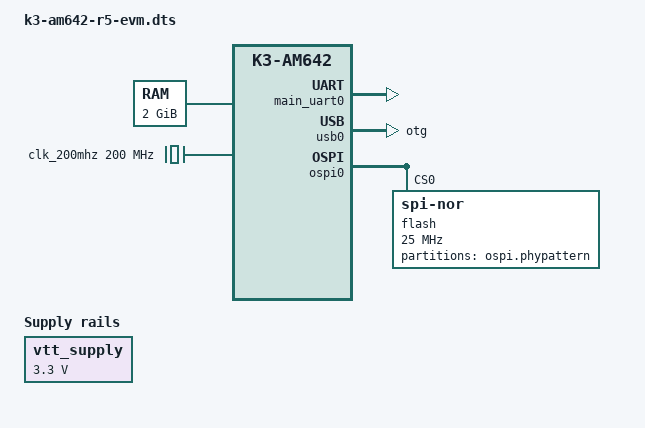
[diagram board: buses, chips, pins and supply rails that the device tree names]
// SPDX-License-Identifier: GPL-2.0
/*
 * Copyright (C) 2020 Texas Instruments Incorporated - https://www.ti.com/
 */

/dts-v1/;

#include "k3-am642.dtsi"
#include "k3-am64-evm-ddr4-1600MTs.dtsi"
#include "k3-am64-ddr.dtsi"

/ {
	chosen {
		stdout-path = "serial2:115200n8";
		tick-timer = &timer1;
	};

	aliases {
		remoteproc0 = &sysctrler;
		remoteproc1 = &a53_0;
	};

	memory@80000000 {
		device_type = "memory";
		/* 2G RAM */
		reg = <0x00000000 0x80000000 0x00000000 0x80000000>;

		u-boot,dm-spl;
	};

	a53_0: a53@0 {
		compatible = "ti,am654-rproc";
		reg = <0x00 0x00a90000 0x00 0x10>;
		power-domains = <&k3_pds 61 TI_SCI_PD_EXCLUSIVE>,
				<&k3_pds 135 TI_SCI_PD_EXCLUSIVE>;
		resets = <&k3_reset 135 0>;
		clocks = <&k3_clks 61 0>;
		assigned-clocks = <&k3_clks 61 0>, <&k3_clks 135 0>;
		assigned-clock-parents = <&k3_clks 61 2>;
		assigned-clock-rates = <200000000>, <1000000000>;
		ti,sci = <&dmsc>;
		ti,sci-proc-id = <32>;
		ti,sci-host-id = <10>;
		u-boot,dm-spl;
	};

	reserved-memory {
		#address-cells = <2>;
		#size-cells = <2>;
		ranges;

		secure_ddr: optee@9e800000 {
			reg = <0x00 0x9e800000 0x00 0x01800000>; /* for OP-TEE */
			alignment = <0x1000>;
			no-map;
		};
	};

	clk_200mhz: dummy-clock-200mhz {
		compatible = "fixed-clock";
		#clock-cells = <0>;
		clock-frequency = <200000000>;
		u-boot,dm-spl;
	};

	vtt_supply: vtt-supply {
		compatible = "regulator-gpio";
		regulator-name = "vtt";
		regulator-min-microvolt = <0>;
		regulator-max-microvolt = <3300000>;
		gpios = <&main_gpio0 12 GPIO_ACTIVE_HIGH>;
		states = <0 0x0 3300000 0x1>;
		u-boot,dm-spl;
	};
};

&cbass_main {
	sysctrler: sysctrler {
		compatible = "ti,am654-system-controller";
		mboxes= <&secure_proxy_main 1>, <&secure_proxy_main 0>;
		mbox-names = "tx", "rx";
		u-boot,dm-spl;
	};
};

&cbass_main {
	main_esm: esm@420000 {
		compatible = "ti,j721e-esm";
		reg = <0x0 0x420000 0x0 0x1000>;
		ti,esm-pins = <160>, <161>;
		u-boot,dm-spl;
	};
};

&cbass_mcu {
	u-boot,dm-spl;
	mcu_esm: esm@4100000 {
		compatible = "ti,j721e-esm";
		reg = <0x0 0x4100000 0x0 0x1000>;
		ti,esm-pins = <0>, <1>;
		u-boot,dm-spl;
	};
};

&main_pmx0 {
	u-boot,dm-spl;
	main_uart0_pins_default: main-uart0-pins-default {
		u-boot,dm-spl;
		pinctrl-single,pins = <
			AM64X_IOPAD(0x0238, PIN_INPUT, 0)		/* (B16) UART0_CTSn */
			AM64X_IOPAD(0x023c, PIN_OUTPUT, 0)		/* (A16) UART0_RTSn */
			AM64X_IOPAD(0x0230, PIN_INPUT, 0)		/* (D15) UART0_RXD */
			AM64X_IOPAD(0x0234, PIN_OUTPUT, 0)		/* (C16) UART0_TXD */
		>;
	};

	main_uart1_pins_default: main-uart1-pins-default {
		u-boot,dm-spl;
		pinctrl-single,pins = <
			AM64X_IOPAD(0x0248, PIN_INPUT, 0)		/* (D16) UART1_CTSn */
			AM64X_IOPAD(0x024c, PIN_OUTPUT, 0) 		/* (E16) UART1_RTSn */
			AM64X_IOPAD(0x0240, PIN_INPUT, 0) 		/* (E15) UART1_RXD */
			AM64X_IOPAD(0x0244, PIN_OUTPUT, 0)		/* (E14) UART1_TXD */
		>;
	};

	main_mmc0_pins_default: main-mmc0-pins-default {
		u-boot,dm-spl;
		pinctrl-single,pins = <
			AM64X_IOPAD(0x01a8, PIN_INPUT_PULLDOWN, 0)	/* (B25) MMC0_CLK */
			AM64X_IOPAD(0x01aC, PIN_INPUT_PULLUP, 0)	/* (B27) MMC0_CMD */
			AM64X_IOPAD(0x01a4, PIN_INPUT_PULLUP, 0)	/* (A26) MMC0_DAT0 */
			AM64X_IOPAD(0x01a0, PIN_INPUT_PULLUP, 0)	/* (E25) MMC0_DAT1 */
			AM64X_IOPAD(0x019c, PIN_INPUT_PULLUP, 0)	/* (C26) MMC0_DAT2 */
			AM64X_IOPAD(0x0198, PIN_INPUT_PULLUP, 0)	/* (A25) MMC0_DAT3 */
			AM64X_IOPAD(0x0194, PIN_INPUT_PULLUP, 0)	/* (E24) MMC0_DAT4 */
			AM64X_IOPAD(0x0190, PIN_INPUT_PULLUP, 0)	/* (A24) MMC0_DAT5 */
			AM64X_IOPAD(0x018c, PIN_INPUT_PULLUP, 0)	/* (B26) MMC0_DAT6 */
			AM64X_IOPAD(0x0188, PIN_INPUT_PULLUP, 0)	/* (D25) MMC0_DAT7 */
			AM64X_IOPAD(0x01b0, PIN_INPUT, 0)		/* (C25) MMC0_DS */
		>;
	};

	main_mmc1_pins_default: main-mmc1-pins-default {
		u-boot,dm-spl;
		pinctrl-single,pins = <
			AM64X_IOPAD(0x0294, PIN_INPUT_PULLUP, 0)	/* (J19) MMC1_CMD */
			AM64X_IOPAD(0x028c, PIN_INPUT_PULLDOWN, 0)	/* (L20) MMC1_CLK */
			AM64X_IOPAD(0x0288, PIN_INPUT_PULLUP, 0)	/* (K21) MMC1_DAT0 */
			AM64X_IOPAD(0x0284, PIN_INPUT_PULLUP, 0)	/* (L21) MMC1_DAT1 */
			AM64X_IOPAD(0x0280, PIN_INPUT_PULLUP, 0)	/* (K19) MMC1_DAT2 */
			AM64X_IOPAD(0x027c, PIN_INPUT_PULLUP, 0)	/* (K18) MMC1_DAT3 */
			AM64X_IOPAD(0x0298, PIN_INPUT_PULLUP, 0)	/* (D19) MMC1_SDCD */
			AM64X_IOPAD(0x029c, PIN_INPUT_PULLUP, 0)	/* (C20) MMC1_SDWP */
		>;
	};

	ddr_vtt_pins_default: ddr-vtt-pins-default {
		u-boot,dm-spl;
		pinctrl-single,pins = <
			AM64X_IOPAD(0x0030, PIN_OUTPUT_PULLUP, 7)	/* (L18) OSPI0_CSN1.GPIO0_12 */
		>;
	};

	main_usb0_pins_default: main-usb0-pins-default {
		pinctrl-single,pins = <
			AM64X_IOPAD(0x02a8, PIN_OUTPUT, 0) /* (E19) USB0_DRVVBUS */
		>;
	};

	ospi0_pins_default: ospi0-pins-default {
		pinctrl-single,pins = <
			AM64X_IOPAD(0x0000, PIN_OUTPUT, 0) /* (N20) OSPI0_CLK */
			AM64X_IOPAD(0x002c, PIN_OUTPUT, 0) /* (L19) OSPI0_CSn0 */
			AM64X_IOPAD(0x000c, PIN_INPUT, 0) /* (M19) OSPI0_D0 */
			AM64X_IOPAD(0x0010, PIN_INPUT, 0) /* (M18) OSPI0_D1 */
			AM64X_IOPAD(0x0014, PIN_INPUT, 0) /* (M20) OSPI0_D2 */
			AM64X_IOPAD(0x0018, PIN_INPUT, 0) /* (M21) OSPI0_D3 */
			AM64X_IOPAD(0x001c, PIN_INPUT, 0) /* (P21) OSPI0_D4 */
			AM64X_IOPAD(0x0020, PIN_INPUT, 0) /* (P20) OSPI0_D5 */
			AM64X_IOPAD(0x0024, PIN_INPUT, 0) /* (N18) OSPI0_D6 */
			AM64X_IOPAD(0x0028, PIN_INPUT, 0) /* (M17) OSPI0_D7 */
			AM64X_IOPAD(0x0008, PIN_INPUT, 0) /* (N19) OSPI0_DQS */
		>;
	};
};

&dmsc {
	mboxes= <&secure_proxy_main 0>,
		<&secure_proxy_main 1>,
		<&secure_proxy_main 0>;
	mbox-names = "rx", "tx", "notify";
	ti,host-id = <35>;
	ti,secure-host;
};

&main_uart0 {
	/delete-property/ power-domains;
	/delete-property/ clocks;
	/delete-property/ clock-names;
	pinctrl-names = "default";
	pinctrl-0 = <&main_uart0_pins_default>;
	status = "okay";
};

&main_uart1 {
	u-boot,dm-spl;
	pinctrl-names = "default";
	pinctrl-0 = <&main_uart1_pins_default>;
};

&memorycontroller {
	vtt-supply = <&vtt_supply>;
	pinctrl-names = "default";
	pinctrl-0 = <&ddr_vtt_pins_default>;
};

&sdhci0 {
	/delete-property/ power-domains;
	clocks = <&clk_200mhz>;
	clock-names = "clk_xin";
	ti,driver-strength-ohm = <50>;
	disable-wp;
	pinctrl-0 = <&main_mmc0_pins_default>;
};

&sdhci1 {
	/delete-property/ power-domains;
	clocks = <&clk_200mhz>;
	clock-names = "clk_xin";
	ti,driver-strength-ohm = <50>;
	disable-wp;
	pinctrl-0 = <&main_mmc1_pins_default>;
};

&main_gpio0 {
	u-boot,dm-spl;
	/delete-property/ power-domains;
};

&usbss0 {
	ti,vbus-divider;
	ti,usb2-only;
};

&usb0 {
	dr_mode = "otg";
	maximum-speed = "high-speed";
	pinctrl-names = "default";
	pinctrl-0 = <&main_usb0_pins_default>;
};

&ospi0 {
	pinctrl-names = "default";
	pinctrl-0 = <&ospi0_pins_default>;

	reg = <0x00 0x0fc40000 0x00 0x100>,
	      <0x00 0x60000000 0x00 0x8000000>;

	flash@0{
		compatible = "jedec,spi-nor";
		reg = <0x0>;
		spi-tx-bus-width = <8>;
		spi-rx-bus-width = <8>;
		spi-max-frequency = <25000000>;
		cdns,tshsl-ns = <60>;
		cdns,tsd2d-ns = <60>;
		cdns,tchsh-ns = <60>;
		cdns,tslch-ns = <60>;
		cdns,read-delay = <4>;
		cdns,phy-mode;
		#address-cells = <1>;
		#size-cells = <1>;

		partition@3fc0000 {
			label = "ospi.phypattern";
			reg = <0x3fc0000 0x40000>;
		};
	};
};

/* EEPROM might be read before SYSFW is available */
&main_i2c0 {
	/delete-property/ power-domains;
};

#include "k3-am642-evm-nand.dtsi"

&gpmc0_pins_default {
	u-boot,dm-spl;
};

&gpmc0 {
	u-boot,dm-spl;
};

&main_gpio0 {
	u-boot,dm-spl;
};

&nand0_0 {
	u-boot,dm-spl;
};

#include "k3-am642-evm-u-boot.dtsi"
